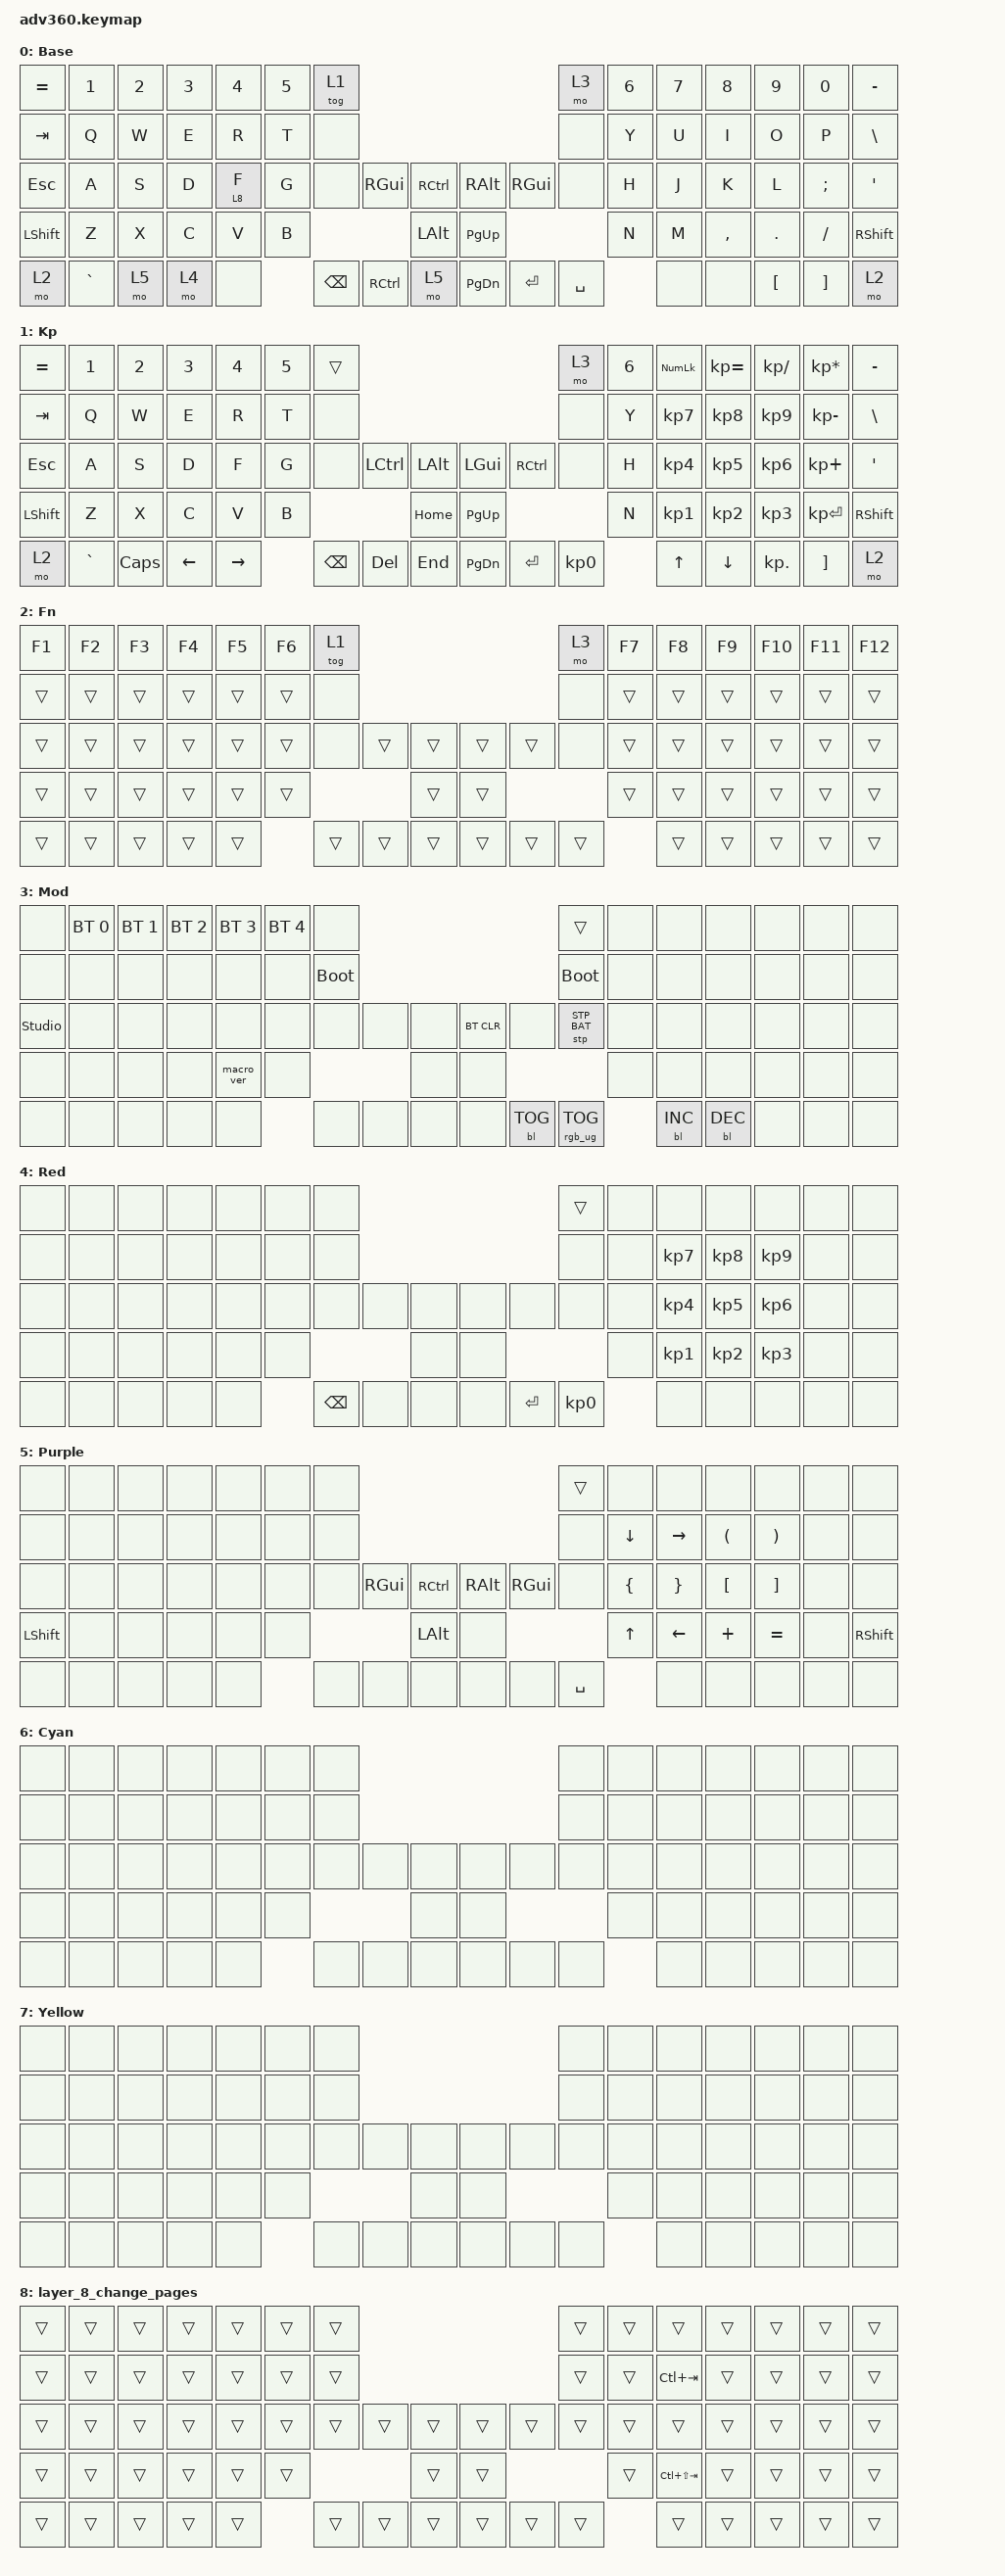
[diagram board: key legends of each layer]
#include <dt-bindings/zmk/stp.h>
#include <behaviors.dtsi>
#include <dt-bindings/zmk/backlight.h>
#include <dt-bindings/zmk/bt.h>
#include <dt-bindings/zmk/keys.h>
#include <dt-bindings/zmk/rgb.h>

/ {
    behaviors {
        #include "macros.dtsi"
      #include "version.dtsi"

        hm: homerow_mods {
            compatible = "zmk,behavior-hold-tap";
            label = "HOMEROW_MODS";
            #binding-cells = <2>;
            tapping-term-ms = <200>;
            quick_tap_ms = <175>;
            flavor = "tap-preferred";
            bindings = <&kp>, <&kp>;
        };

        lt_f: layer_tap_fast {
            compatible = "zmk,behavior-hold-tap";
            display-name = "Layer-Tap Fast";
            #binding-cells = <2>;
            flavor = "tap-preferred";
            tapping-term-ms = <200>;
            require-prior-idle-ms = <300>;
            bindings = <&mo>, <&kp>;
        };
    };

    combos { compatible = "zmk,combos"; };

    keymap {
        compatible = "zmk,keymap";

        default_layer {
            display-name = "Base";
            bindings = <
&kp EQUAL  &kp N1     &kp N2  &kp N3  &kp N4   &kp N5  &tog 1                                                                       &mo 3      &kp N6  &kp N7  &kp N8     &kp N9    &kp N0    &kp MINUS
&kp TAB    &kp Q      &kp W   &kp E   &kp R    &kp T   &none                                                                        &none      &kp Y   &kp U   &kp I      &kp O     &kp P     &kp BSLH
&kp ESC    &kp A      &kp S   &kp D   &lt_f 8 F &kp G   &none     &kp RIGHT_GUI      &kp RCTRL         &kp RIGHT_ALT  &kp RIGHT_GUI  &none      &kp H   &kp J   &kp K      &kp L     &kp SEMI  &kp SQT
&kp LSHFT  &kp Z      &kp X   &kp C   &kp V    &kp B                                &kp LEFT_ALT      &kp PG_UP                                &kp N   &kp M   &kp COMMA  &kp DOT   &kp FSLH  &kp RSHFT
&mo 2      &kp GRAVE  &mo 5   &mo 4   &none            &kp BSPC  &kp RIGHT_CONTROL  &mo 5             &kp PG_DN      &kp ENTER      &kp SPACE          &none   &none      &kp LBKT  &kp RBKT  &mo 2
            >;
        };

        keypad {
            display-name = "Kp";
            bindings = <
&kp EQUAL  &kp N1     &kp N2    &kp N3    &kp N4     &kp N5  &trans                                                   &mo 3      &kp N6  &kp KP_NUM  &kp KP_EQUAL  &kp KP_DIVIDE  &kp KP_MULTIPLY  &kp MINUS
&kp TAB    &kp Q      &kp W     &kp E     &kp R      &kp T   &none                                                    &none      &kp Y   &kp KP_N7   &kp KP_N8     &kp KP_N9      &kp KP_MINUS     &kp BSLH
&kp ESC    &kp A      &kp S     &kp D     &kp F      &kp G   &none     &kp LCTRL  &kp LALT      &kp LGUI   &kp RCTRL  &none      &kp H   &kp KP_N4   &kp KP_N5     &kp KP_N6      &kp KP_PLUS      &kp SQT
&kp LSHFT  &kp Z      &kp X     &kp C     &kp V      &kp B                        &kp HOME      &kp PG_UP                        &kp N   &kp KP_N1   &kp KP_N2     &kp KP_N3      &kp KP_ENTER     &kp RSHFT
&mo 2      &kp GRAVE  &kp CAPS  &kp LEFT  &kp RIGHT          &kp BSPC  &kp DEL    &kp END       &kp PG_DN  &kp ENTER  &kp KP_N0          &kp UP      &kp DOWN      &kp KP_DOT     &kp RBKT         &mo 2
            >;
        };

        fn {
            display-name = "Fn";
            bindings = <
&kp F1  &kp F2  &kp F3  &kp F4  &kp F5  &kp F6  &tog 1                                      &mo 3   &kp F7  &kp F8  &kp F9  &kp F10  &kp F11  &kp F12
&trans  &trans  &trans  &trans  &trans  &trans  &none                                       &none   &trans  &trans  &trans  &trans   &trans   &trans
&trans  &trans  &trans  &trans  &trans  &trans  &none   &trans  &trans      &trans  &trans  &none   &trans  &trans  &trans  &trans   &trans   &trans
&trans  &trans  &trans  &trans  &trans  &trans                  &trans      &trans                  &trans  &trans  &trans  &trans   &trans   &trans
&trans  &trans  &trans  &trans  &trans          &trans  &trans  &trans      &trans  &trans  &trans          &trans  &trans  &trans   &trans   &trans
            >;
        };

        mod {
            display-name = "Mod";
            bindings = <
&none           &bt BT_SEL 0  &bt BT_SEL 1  &bt BT_SEL 2  &bt BT_SEL 3  &bt BT_SEL 4  &none                                                  &trans           &none  &none       &none       &none  &none  &none
&none           &none         &none         &none         &none         &none         &bootloader                                            &bootloader      &none  &none       &none       &none  &none  &none
&studio_unlock  &none         &none         &none         &none         &none         &none        &none  &none      &bt BT_CLR  &none       &stp STP_BAT     &none  &none       &none       &none  &none  &none
&none           &none         &none         &none         &macro_ver    &none                             &none      &none                                    &none  &none       &none       &none  &none  &none
&none           &none         &none         &none         &none                       &none        &none  &none      &none       &bl BL_TOG  &rgb_ug RGB_TOG         &bl BL_INC  &bl BL_DEC  &none  &none  &none
            >;
        };

        layer_4_numbers {
            display-name = "Red";
            bindings = <
&none  &none  &none  &none  &none  &none  &none                                              &trans           &none  &none            &none            &none            &none  &none
&none  &none  &none  &none  &none  &none  &none                                              &none            &none  &kp KP_NUMBER_7  &kp KP_NUMBER_8  &kp KP_NUMBER_9  &none  &none
&none  &none  &none  &none  &none  &none  &none          &none  &none      &none  &none      &none            &none  &kp KP_NUMBER_4  &kp KP_NUMBER_5  &kp KP_NUMBER_6  &none  &none
&none  &none  &none  &none  &none  &none                        &none      &none                              &none  &kp KP_NUMBER_1  &kp KP_NUMBER_2  &kp KP_NUMBER_3  &none  &none
&none  &none  &none  &none  &none         &kp BACKSPACE  &none  &none      &none  &kp ENTER  &kp KP_NUMBER_0         &none            &none            &none            &none  &none
            >;
        };

        layer_5_developer {
            display-name = "Purple";
            bindings = <
&none      &none  &none  &none  &none  &none  &none                                                                 &trans     &none           &none            &none                 &none                  &none  &none
&none      &none  &none  &none  &none  &none  &none                                                                 &none      &kp DOWN        &kp RIGHT        &kp LEFT_PARENTHESIS  &kp RIGHT_PARENTHESIS  &none  &none
&none      &none  &none  &none  &none  &none  &none  &kp RIGHT_GUI  &kp RCTRL         &kp RIGHT_ALT  &kp RIGHT_GUI  &none      &kp LEFT_BRACE  &kp RIGHT_BRACE  &kp LEFT_BRACKET      &kp RIGHT_BRACKET      &none  &none
&kp LSHFT  &none  &none  &none  &none  &none                        &kp LEFT_ALT      &none                                    &kp UP_ARROW    &kp LEFT_ARROW   &kp PLUS              &kp EQUAL              &none  &kp RSHFT
&none      &none  &none  &none  &none         &none  &none          &none             &none          &none          &kp SPACE                  &none            &none                 &none                  &none  &none
            >;
        };

        layer_6_empty {
            display-name = "Cyan";
            bindings = <
&none  &none  &none  &none  &none  &none  &none                                  &none  &none  &none  &none  &none  &none  &none
&none  &none  &none  &none  &none  &none  &none                                  &none  &none  &none  &none  &none  &none  &none
&none  &none  &none  &none  &none  &none  &none  &none  &none      &none  &none  &none  &none  &none  &none  &none  &none  &none
&none  &none  &none  &none  &none  &none                &none      &none                &none  &none  &none  &none  &none  &none
&none  &none  &none  &none  &none         &none  &none  &none      &none  &none  &none         &none  &none  &none  &none  &none
            >;
        };

        layer_7_empty {
            display-name = "Yellow";
            bindings = <
&none  &none  &none  &none  &none  &none  &none                                  &none  &none  &none  &none  &none  &none  &none
&none  &none  &none  &none  &none  &none  &none                                  &none  &none  &none  &none  &none  &none  &none
&none  &none  &none  &none  &none  &none  &none  &none  &none      &none  &none  &none  &none  &none  &none  &none  &none  &none
&none  &none  &none  &none  &none  &none                &none      &none                &none  &none  &none  &none  &none  &none
&none  &none  &none  &none  &none         &none  &none  &none      &none  &none  &none         &none  &none  &none  &none  &none
            >;
        };

        layer_8_change_pages {
            bindings = <
&trans  &trans  &trans  &trans  &trans  &trans  &trans                                      &trans  &trans  &trans           &trans  &trans  &trans  &trans
&trans  &trans  &trans  &trans  &trans  &trans  &trans                                      &trans  &trans  &kp LC(TAB)      &trans  &trans  &trans  &trans
&trans  &trans  &trans  &trans  &trans  &trans  &trans  &trans  &trans      &trans  &trans  &trans  &trans  &trans           &trans  &trans  &trans  &trans
&trans  &trans  &trans  &trans  &trans  &trans                  &trans      &trans                  &trans  &kp LC(LS(TAB))  &trans  &trans  &trans  &trans
&trans  &trans  &trans  &trans  &trans          &trans  &trans  &trans      &trans  &trans  &trans          &trans           &trans  &trans  &trans  &trans
            >;
        };
    };
};
